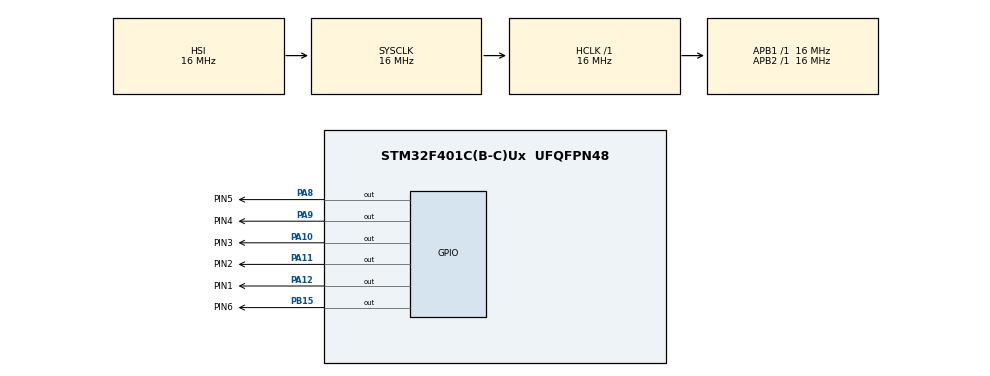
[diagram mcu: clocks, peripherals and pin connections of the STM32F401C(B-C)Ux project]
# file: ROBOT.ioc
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Mcu.Family=STM32F4
Mcu.Name=STM32F401C(B-C)Ux
Mcu.Package=UFQFPN48
NVIC.PriorityGroup=NVIC_PRIORITYGROUP_4
PA10.GPIO_Label=PIN3
PA10.Signal=GPIO_Output
PA11.GPIO_Label=PIN2
PA11.Signal=GPIO_Output
PA12.GPIO_Label=PIN1
PA12.Signal=GPIO_Output
PA8.GPIO_Label=PIN5
PA8.Signal=GPIO_Output
PA9.GPIO_Label=PIN4
PA9.Signal=GPIO_Output
PB15.GPIO_Label=PIN6
PB15.Signal=GPIO_Output
ProjectManager.HeapSize=0x200
ProjectManager.StackSize=0x400
ProjectManager.TargetToolchain=CMake
RCC.AHBFreq_Value=16000000
RCC.APB1Freq_Value=16000000
RCC.APB2Freq_Value=16000000
RCC.CortexFreq_Value=16000000
RCC.HSE_VALUE=25000000
RCC.HSI_VALUE=16000000
RCC.LSE_VALUE=32768
RCC.SYSCLKFreq_VALUE=16000000
RCC.VCOOutputFreq_Value=192000000
board=custom

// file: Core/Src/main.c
/* USER CODE BEGIN Header */
/**
  ******************************************************************************
  * @file           : main.c
  * @brief          : Main program body
  ******************************************************************************
  * @attention
  *
  * Copyright (c) 2026 STMicroelectronics.
  * All rights reserved.
  *
  * This software is licensed under terms that can be found in the LICENSE file
  * in the root directory of this software component.
  * If no LICENSE file comes with this software, it is provided AS-IS.
  *
  ******************************************************************************
  */
/* USER CODE END Header */
#include "main.h"

/* USER CODE BEGIN Includes */
#include <stdint.h>
/* USER CODE END Includes */

/* USER CODE BEGIN PTD */

/* Un pin de salida: puerto + máscara */
typedef struct {
    GPIO_TypeDef *puerto;
    uint16_t      mascara;
} Salida_t;

/* Estado posible de una rueda (también sirve como índice de las tablas) */
typedef enum {
    RUEDA_ALTO = 0,
    RUEDA_FRENTE,
    RUEDA_ATRAS,
    RUEDA_ESTADOS
} EstadoRueda_t;

/* Un paso de la ruta: qué hace cada rueda y por cuánto tiempo */
typedef struct {
    EstadoRueda_t izq;
    EstadoRueda_t der;
    uint32_t      duracion_ms;
} Paso_t;

/* USER CODE END PTD */

/* USER CODE BEGIN PD */

#define TIEMPO_GIRO_MS    470U
#define TIEMPO_AVANCE_MS  1500U
#define TIEMPO_RETRO_MS   1500U
#define TIEMPO_REPOSO_MS  300U

/* USER CODE END PD */

/* USER CODE BEGIN PV */

/* Pines de cada rueda, del bit menos significativo (A) al más significativo (C) */
static const Salida_t pines_izq[3] = {
    { PIN1_GPIO_Port, PIN1_Pin },
    { PIN2_GPIO_Port, PIN2_Pin },
    { PIN3_GPIO_Port, PIN3_Pin }
};

static const Salida_t pines_der[3] = {
    { PIN4_GPIO_Port, PIN4_Pin },
    { PIN5_GPIO_Port, PIN5_Pin },
    { PIN6_GPIO_Port, PIN6_Pin }
};

/* Código de 3 bits para cada estado: { ALTO, FRENTE, ATRAS }
   La rueda derecha va espejada, por eso FRENTE y ATRAS están intercambiados */
static const uint8_t codigo_izq[RUEDA_ESTADOS] = { 0x07U, 0x06U, 0x05U };
static const uint8_t codigo_der[RUEDA_ESTADOS] = { 0x07U, 0x05U, 0x06U };

/* Ruta completa del robot */
static const Paso_t ruta[] = {
    { RUEDA_FRENTE, RUEDA_ATRAS,  TIEMPO_GIRO_MS   },  /* giro a la derecha   */
    { RUEDA_FRENTE, RUEDA_FRENTE, TIEMPO_AVANCE_MS },  /* hacia adelante      */
    { RUEDA_ATRAS,  RUEDA_FRENTE, TIEMPO_GIRO_MS   },  /* giro a la izquierda */
    { RUEDA_ATRAS,  RUEDA_ATRAS,  TIEMPO_RETRO_MS  }   /* hacia atrás         */
};

#define NUM_PASOS  (sizeof(ruta) / sizeof(ruta[0]))

/* USER CODE END PV */

void SystemClock_Config(void);
static void MX_GPIO_Init(void);
/* USER CODE BEGIN PFP */
static void escribir_rueda(const Salida_t pines[3], uint8_t codigo);
static void aplicar_estados(EstadoRueda_t izq, EstadoRueda_t der);
static void ejecutar_paso(const Paso_t *paso);
/* USER CODE END PFP */

/* USER CODE BEGIN 0 */

/* Recorre los 3 pines de una rueda y escribe el bit correspondiente */
static void escribir_rueda(const Salida_t pines[3], uint8_t codigo)
{
    for (uint8_t bit = 0; bit < 3; bit++)
    {
        GPIO_PinState nivel = ((codigo >> bit) & 1U) ? GPIO_PIN_SET : GPIO_PIN_RESET;
        HAL_GPIO_WritePin(pines[bit].puerto, pines[bit].mascara, nivel);
    }
}

/* Traduce los estados de cada rueda a su código y los aplica */
static void aplicar_estados(EstadoRueda_t izq, EstadoRueda_t der)
{
    escribir_rueda(pines_izq, codigo_izq[izq]);
    escribir_rueda(pines_der, codigo_der[der]);
}

/* Ejecuta un paso de la ruta y deja el robot en reposo al terminar */
static void ejecutar_paso(const Paso_t *paso)
{
    aplicar_estados(paso->izq, paso->der);
    HAL_Delay(paso->duracion_ms);

    aplicar_estados(RUEDA_ALTO, RUEDA_ALTO);
    HAL_Delay(TIEMPO_REPOSO_MS);
}

/* USER CODE END 0 */

int main(void)
{

  /* MCU Configuration--------------------------------------------------------*/

  /* Reset of all peripherals, Initializes the Flash interface and the Systick. */
  HAL_Init();

  /* Configure the system clock */
  SystemClock_Config();

  /* Initialize all configured peripherals */
  MX_GPIO_Init();
  /* USER CODE BEGIN 2 */

  /* Empieza con ambas ruedas detenidas */
  aplicar_estados(RUEDA_ALTO, RUEDA_ALTO);
  HAL_Delay(500);

  /* Recorre la ruta una sola vez */
  for (uint32_t i = 0; i < NUM_PASOS; i++)
  {
      ejecutar_paso(&ruta[i]);
  }

  /* USER CODE END 2 */

  /* Infinite loop */
  while (1)
  {

  }
}

void SystemClock_Config(void)
{
  RCC_OscInitTypeDef RCC_OscInitStruct = {0};
  RCC_ClkInitTypeDef RCC_ClkInitStruct = {0};

  /** Configure the main internal regulator output voltage
  */
  __HAL_RCC_PWR_CLK_ENABLE();
  __HAL_PWR_VOLTAGESCALING_CONFIG(PWR_REGULATOR_VOLTAGE_SCALE2);

  /** Initializes the RCC Oscillators according to the specified parameters
  * in the RCC_OscInitTypeDef structure.
  */
  RCC_OscInitStruct.OscillatorType = RCC_OSCILLATORTYPE_HSI;
  RCC_OscInitStruct.HSIState = RCC_HSI_ON;
  RCC_OscInitStruct.HSICalibrationValue = RCC_HSICALIBRATION_DEFAULT;
  RCC_OscInitStruct.PLL.PLLState = RCC_PLL_NONE;
  if (HAL_RCC_OscConfig(&RCC_OscInitStruct) != HAL_OK)
  {
    Error_Handler();
  }

  /** Initializes the CPU, AHB and APB buses clocks
  */
  RCC_ClkInitStruct.ClockType = RCC_CLOCKTYPE_HCLK|RCC_CLOCKTYPE_SYSCLK
                              |RCC_CLOCKTYPE_PCLK1|RCC_CLOCKTYPE_PCLK2;
  RCC_ClkInitStruct.SYSCLKSource = RCC_SYSCLKSOURCE_HSI;
  RCC_ClkInitStruct.AHBCLKDivider = RCC_SYSCLK_DIV1;
  RCC_ClkInitStruct.APB1CLKDivider = RCC_HCLK_DIV1;
  RCC_ClkInitStruct.APB2CLKDivider = RCC_HCLK_DIV1;

  if (HAL_RCC_ClockConfig(&RCC_ClkInitStruct, FLASH_LATENCY_0) != HAL_OK)
  {
    Error_Handler();
  }
}

static void MX_GPIO_Init(void)
{
  GPIO_InitTypeDef GPIO_InitStruct = {0};

  /* GPIO Ports Clock Enable */
  __HAL_RCC_GPIOB_CLK_ENABLE();
  __HAL_RCC_GPIOA_CLK_ENABLE();

  /*Configure GPIO pin Output Level */
  HAL_GPIO_WritePin(PIN6_GPIO_Port, PIN6_Pin, GPIO_PIN_RESET);

  /*Configure GPIO pin Output Level */
  HAL_GPIO_WritePin(GPIOA, PIN5_Pin|PIN4_Pin|PIN3_Pin|PIN2_Pin
                          |PIN1_Pin, GPIO_PIN_RESET);

  /*Configure GPIO pin : PIN6_Pin */
  GPIO_InitStruct.Pin = PIN6_Pin;
  GPIO_InitStruct.Mode = GPIO_MODE_OUTPUT_PP;
  GPIO_InitStruct.Pull = GPIO_NOPULL;
  GPIO_InitStruct.Speed = GPIO_SPEED_FREQ_LOW;
  HAL_GPIO_Init(PIN6_GPIO_Port, &GPIO_InitStruct);

  /*Configure GPIO pins : PIN5_Pin PIN4_Pin PIN3_Pin PIN2_Pin
                           PIN1_Pin */
  GPIO_InitStruct.Pin = PIN5_Pin|PIN4_Pin|PIN3_Pin|PIN2_Pin
                          |PIN1_Pin;
  GPIO_InitStruct.Mode = GPIO_MODE_OUTPUT_PP;
  GPIO_InitStruct.Pull = GPIO_NOPULL;
  GPIO_InitStruct.Speed = GPIO_SPEED_FREQ_LOW;
  HAL_GPIO_Init(GPIOA, &GPIO_InitStruct);

}

void Error_Handler(void)
{
  __disable_irq();
  while (1)
  {
  }
}
